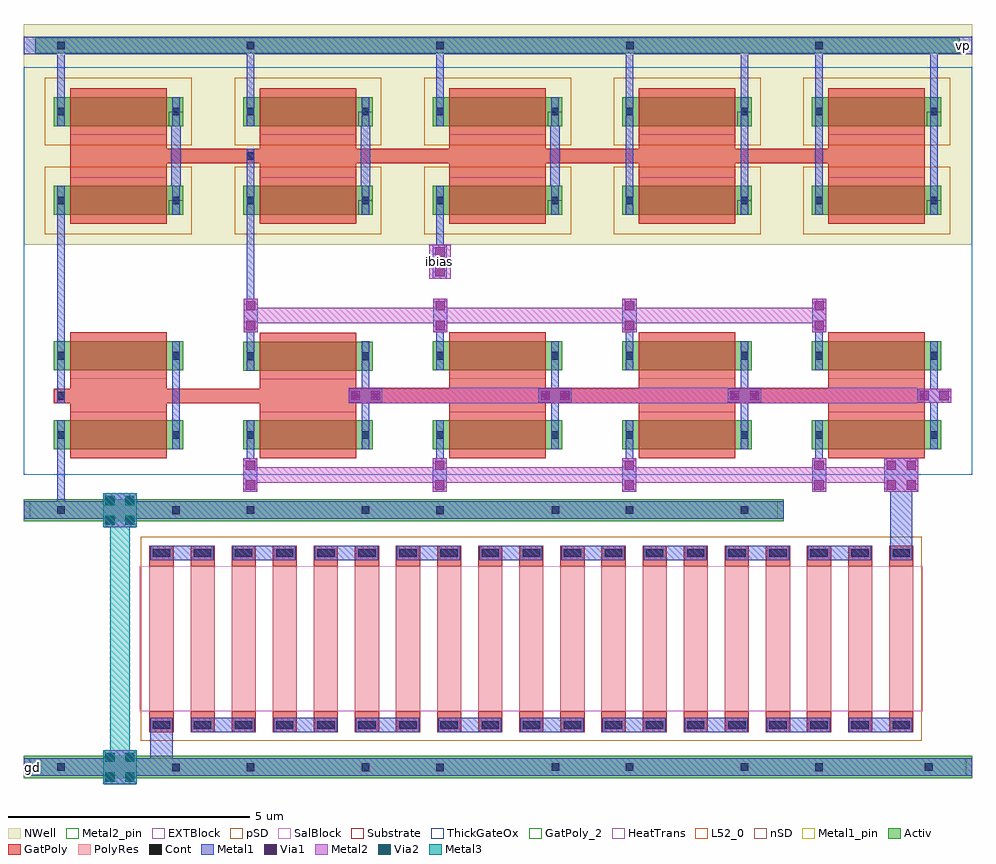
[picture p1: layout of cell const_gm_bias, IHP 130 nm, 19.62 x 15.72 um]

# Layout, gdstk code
import gdstk
lib = gdstk.Library(unit=1e-6, precision=1e-09)
def R(c, l, rs):  # rectangles x0, y0, x1, y1
    for r in rs: c.add(gdstk.rectangle(r[:2], r[2:], *l))
def A(c, l, x, y, w, h, nx, ny, dx, dy):  # array of equal rectangles
    R(c, l, [(x+i*dx, y+j*dy, x+i*dx+w, y+j*dy+h) for i in range(nx) for j in range(ny)])
Activ = (1, 0)
GatPoly = (5, 0)
GatPoly_2 = (5, 2)
Cont = (6, 0)
nSD = (7, 0)
Metal1 = (8, 0)
Metal1_pin = (8, 2)
Metal2 = (10, 0)
Metal2_pin = (10, 2)
pSD = (14, 0)
Via1 = (19, 0)
SalBlock = (28, 0)
Via2 = (29, 0)
Metal3 = (30, 0)
NWell = (31, 0)
Substrate = (40, 0)
ThickGateOx = (44, 0)
HeatTrans = (51, 0)
L52_0 = (52, 0)
EXTBlock = (111, 0)
PolyRes = (128, 0)

nmoshv_1_1 = lib.new_cell('nmosHV$1$1')
R(nmoshv_1_1, Activ, [(0,0,0.3,0.3), (0,0,2.68,0.6), (2.38,0,2.68,0.3)])
R(nmoshv_1_1, GatPoly, [(0.34,-0.18,2.34,0.78)])
R(nmoshv_1_1, GatPoly_2, [(0.34,-0.18,2.34,0.78)])
R(nmoshv_1_1, Cont, [(0.07,0.22,0.23,0.38), (2.45,0.22,2.61,0.38)])
R(nmoshv_1_1, Metal1, [(0.07,0,0.23,0.6), (2.45,0,2.61,0.6)])
R(nmoshv_1_1, Metal1_pin, [(0.07,0,0.23,0.6), (2.45,0,2.61,0.6)])
R(nmoshv_1_1, ThickGateOx, [(-0.27,-0.52,2.95,1.12)])
R(nmoshv_1_1, HeatTrans, [(0.34,-0.18,2.34,0.78)])
nmoshv_1_1.add(gdstk.Label('nmosHV', (1.34,0.3), layer=63, texttype=0))
nmoshv_1_1.add(gdstk.Label('nmosHV', (1.34,0.3), layer=51, texttype=0))

nmoshv_1 = lib.new_cell('nmosHV$1')
R(nmoshv_1, Activ, [(0,0,0.3,0.3), (0,0,2.68,0.6), (2.38,0,2.68,0.3)])
R(nmoshv_1, GatPoly, [(0.34,-0.18,2.34,0.78)])
R(nmoshv_1, GatPoly_2, [(0.34,-0.18,2.34,0.78)])
R(nmoshv_1, Cont, [(0.07,0.22,0.23,0.38), (2.45,0.22,2.61,0.38)])
R(nmoshv_1, Metal1, [(0.07,0,0.23,0.6), (2.45,0,2.61,0.6)])
R(nmoshv_1, Metal1_pin, [(0.07,0,0.23,0.6), (2.45,0,2.61,0.6)])
R(nmoshv_1, ThickGateOx, [(-0.27,-0.52,2.95,1.12)])
R(nmoshv_1, HeatTrans, [(0.34,-0.18,2.34,0.78)])
nmoshv_1.add(gdstk.Label('nmosHV', (1.34,0.3), layer=63, texttype=0))
nmoshv_1.add(gdstk.Label('nmosHV', (1.34,0.3), layer=51, texttype=0))

via_stack_4 = lib.new_cell('via_stack$4')
R(via_stack_4, Metal1, [(-0.145,-0.35,0.145,0.35)])
R(via_stack_4, Metal2, [(-0.145,-0.35,0.145,0.35)])
R(via_stack_4, Via1, [(-0.095,-0.3,0.095,-0.11), (-0.095,0.11,0.095,0.3)])

via_stack_1_1 = lib.new_cell('via_stack$1$1')
R(via_stack_1_1, Metal1, [(-0.35,-0.35,0.35,0.35)])
R(via_stack_1_1, Metal2, [(-0.35,-0.35,0.35,0.35)])
R(via_stack_1_1, Via1, [(-0.3,-0.3,-0.11,-0.11), (0.11,-0.3,0.3,-0.11), (-0.3,0.11,-0.11,0.3), (0.11,0.11,0.3,0.3)])

pmoshv_1 = lib.new_cell('pmosHV$1')
R(pmoshv_1, Activ, [(0,0,0.3,0.3), (0,0,2.68,0.6), (2.38,0,2.68,0.3)])
R(pmoshv_1, GatPoly, [(0.34,-0.18,2.34,0.78)])
R(pmoshv_1, GatPoly_2, [(0.34,-0.18,2.34,0.78)])
R(pmoshv_1, Cont, [(0.07,0.22,0.23,0.38), (2.45,0.22,2.61,0.38)])
R(pmoshv_1, Metal1, [(0.07,0,0.23,0.6), (2.45,0,2.61,0.6)])
R(pmoshv_1, Metal1_pin, [(0.07,0,0.23,0.6), (2.45,0,2.61,0.6)])
R(pmoshv_1, pSD, [(-0.18,-0.4,2.86,1)])
R(pmoshv_1, NWell, [(-0.62,-0.62,3.3,1.22)])
R(pmoshv_1, Substrate, [(2.38,0,2.68,0.3)])
R(pmoshv_1, ThickGateOx, [(-0.62,-0.62,3.3,1.22)])
R(pmoshv_1, HeatTrans, [(0.34,-0.18,2.34,0.78)])
pmoshv_1.add(gdstk.Label('pmosHV', (1.34,0.3), layer=63, texttype=0))
pmoshv_1.add(gdstk.Label('pmos', (1.34,0.3), layer=51, texttype=0))

via_stack_2_1 = lib.new_cell('via_stack$2$1')
R(via_stack_2_1, Metal1, [(-0.35,-0.35,0.35,0.35)])
R(via_stack_2_1, Metal2, [(-0.35,-0.35,0.35,0.35)])
R(via_stack_2_1, Via1, [(-0.3,-0.3,-0.11,-0.11), (0.11,-0.3,0.3,-0.11), (-0.3,0.11,-0.11,0.3), (0.11,0.11,0.3,0.3)])
R(via_stack_2_1, Via2, [(-0.3,-0.3,-0.11,-0.11), (0.11,-0.3,0.3,-0.11), (-0.3,0.11,-0.11,0.3), (0.11,0.11,0.3,0.3)])
R(via_stack_2_1, Metal3, [(-0.35,-0.35,0.35,0.35)])

via_stack_4_1 = lib.new_cell('via_stack$4$1')
R(via_stack_4_1, Metal1, [(-0.35,-0.145,0.35,0.145)])
R(via_stack_4_1, Metal2, [(-0.35,-0.145,0.35,0.145)])
R(via_stack_4_1, Via1, [(-0.3,-0.095,-0.11,0.095), (0.11,-0.095,0.3,0.095)])

rppd_2 = lib.new_cell('rppd$2')
A(rppd_2, GatPoly, 0, -0.43, 0.5, 0.23, 19, 2, 0.85, 3.63)
A(rppd_2, GatPoly, 0, -0.2, 0.5, 0.2, 19, 2, 0.85, 3.2)
A(rppd_2, Cont, 0.07, -0.36, 0.36, 0.16, 19, 2, 0.85, 3.56)
A(rppd_2, Metal1, 0.02, -0.43, 0.46, 0.3, 19, 2, 0.85, 3.56)
A(rppd_2, Metal1, 0.87, -0.43, 1.31, 0.3, 9, 1, 1.7, 0)
A(rppd_2, Metal1, 0.02, 3.13, 1.31, 0.3, 9, 1, 1.7, 0)
A(rppd_2, Metal1_pin, 0.02, -0.43, 0.46, 0.3, 19, 2, 0.85, 3.56)
A(rppd_2, pSD, -0.18, -0.61, 0.86, 0.61, 19, 2, 0.85, 3.61)
A(rppd_2, pSD, -0.18, 0, 0.86, 3, 19, 1, 0.85, 0)
A(rppd_2, SalBlock, -0.2, 0, 0.9, 3, 19, 1, 0.85, 0)
A(rppd_2, L52_0, 0, 0, 0.5, 3, 19, 1, 0.85, 0)
A(rppd_2, EXTBlock, -0.18, -0.61, 0.86, 0.61, 19, 2, 0.85, 3.61)
A(rppd_2, EXTBlock, -0.2, 0, 0.9, 3, 19, 1, 0.85, 0)
A(rppd_2, PolyRes, 0, 0, 0.5, 3, 19, 1, 0.85, 0)
rppd_2.add(gdstk.Label('rppd r=1681.502', (0.25,1.5), layer=63, texttype=0))
rppd_2.add(gdstk.Label('rppd r=1681.502', (0.25,1.5), layer=63, texttype=0))
rppd_2.add(gdstk.Label('rppd r=1681.502', (0.25,1.5), layer=63, texttype=0))
rppd_2.add(gdstk.Label('rppd r=1681.502', (0.25,1.5), layer=63, texttype=0))
rppd_2.add(gdstk.Label('rppd r=1681.502', (0.25,1.5), layer=63, texttype=0))
rppd_2.add(gdstk.Label('rppd r=1681.502', (0.25,1.5), layer=63, texttype=0))
rppd_2.add(gdstk.Label('rppd r=1681.502', (0.25,1.5), layer=63, texttype=0))
rppd_2.add(gdstk.Label('rppd r=1681.502', (0.25,1.5), layer=63, texttype=0))
rppd_2.add(gdstk.Label('rppd r=1681.502', (0.25,1.5), layer=63, texttype=0))
rppd_2.add(gdstk.Label('rppd r=1681.502', (0.25,1.5), layer=63, texttype=0))
rppd_2.add(gdstk.Label('rppd r=1681.502', (0.25,1.5), layer=63, texttype=0))
rppd_2.add(gdstk.Label('rppd r=1681.502', (0.25,1.5), layer=63, texttype=0))
rppd_2.add(gdstk.Label('rppd r=1681.502', (0.25,1.5), layer=63, texttype=0))
rppd_2.add(gdstk.Label('rppd r=1681.502', (0.25,1.5), layer=63, texttype=0))
rppd_2.add(gdstk.Label('rppd r=1681.502', (0.25,1.5), layer=63, texttype=0))
rppd_2.add(gdstk.Label('rppd r=1681.502', (0.25,1.5), layer=63, texttype=0))
rppd_2.add(gdstk.Label('rppd r=1681.502', (0.25,1.5), layer=63, texttype=0))
rppd_2.add(gdstk.Label('rppd r=1681.502', (0.25,1.5), layer=63, texttype=0))
rppd_2.add(gdstk.Label('rppd r=1681.502', (0.25,1.5), layer=63, texttype=0))
rppd_2.add(gdstk.Label('rppd', (0.25,1.5), layer=52, texttype=0))
rppd_2.add(gdstk.Label('rppd', (1.1,1.5), layer=52, texttype=0))
rppd_2.add(gdstk.Label('rppd', (1.95,1.5), layer=52, texttype=0))
rppd_2.add(gdstk.Label('rppd', (2.8,1.5), layer=52, texttype=0))
rppd_2.add(gdstk.Label('rppd', (3.65,1.5), layer=52, texttype=0))
rppd_2.add(gdstk.Label('rppd', (4.5,1.5), layer=52, texttype=0))
rppd_2.add(gdstk.Label('rppd', (5.35,1.5), layer=52, texttype=0))
rppd_2.add(gdstk.Label('rppd', (6.2,1.5), layer=52, texttype=0))
rppd_2.add(gdstk.Label('rppd', (7.05,1.5), layer=52, texttype=0))
rppd_2.add(gdstk.Label('rppd', (7.9,1.5), layer=52, texttype=0))
rppd_2.add(gdstk.Label('rppd', (8.75,1.5), layer=52, texttype=0))
rppd_2.add(gdstk.Label('rppd', (9.6,1.5), layer=52, texttype=0))
rppd_2.add(gdstk.Label('rppd', (10.45,1.5), layer=52, texttype=0))
rppd_2.add(gdstk.Label('rppd', (11.3,1.5), layer=52, texttype=0))
rppd_2.add(gdstk.Label('rppd', (12.15,1.5), layer=52, texttype=0))
rppd_2.add(gdstk.Label('rppd', (13,1.5), layer=52, texttype=0))
rppd_2.add(gdstk.Label('rppd', (13.85,1.5), layer=52, texttype=0))
rppd_2.add(gdstk.Label('rppd', (14.7,1.5), layer=52, texttype=0))
rppd_2.add(gdstk.Label('rppd', (15.55,1.5), layer=52, texttype=0))

const_gm_bias = lib.new_cell('const_gm_bias')
A(const_gm_bias, Cont, 0.69, 15.115, 0.16, 0.16, 3, 1, 3.92, 0)
R(const_gm_bias, Cont, [(3.07,0.18,3.23,0.34), (8.53,0.18,8.69,0.34), (4.61,0.185,4.77,0.345), (6.99,0.185,7.15,0.345), (16.37,0.185,16.53,0.345), (0.69,0.19,0.85,0.35), (10.92,0.19,11.08,0.35), (12.45,0.19,12.61,0.35), (14.83,0.19,14.99,0.35), (18.64,0.19,18.8,0.35), (3.07,5.5,3.23,5.66), (8.53,5.5,8.69,5.66), (4.61,5.505,4.77,5.665), (6.99,5.505,7.15,5.665), (0.69,5.51,0.85,5.67), (10.92,5.51,11.08,5.67), (12.45,5.51,12.61,5.67), (14.83,5.51,14.99,5.67), (0.69,7.87,0.85,8.03), (4.61,12.83,4.77,12.99), (12.46,15.115,12.62,15.275), (16.37,15.115,16.53,15.275)])
R(const_gm_bias, Metal1_pin, [(0,0.09,0.36,0.45), (19.26,15.015,19.62,15.375)])
R(const_gm_bias, Metal2, [(8.39,10.37,8.83,11.07)])
R(const_gm_bias, Metal2_pin, [(8.39,10.37,8.83,11.07)])
R(const_gm_bias, NWell, [(0,11.07,19.62,15.64)])
R(const_gm_bias, ThickGateOx, [(0,6.32,19.62,14.75)])
const_gm_bias.add(gdstk.FlexPath([(0,15.195),(19.62,15.195)], 0.36, ends="flush", simple_path=True, layer=8, datatype=0))  # Metal1
const_gm_bias.add(gdstk.FlexPath([(7.07,6.84),(7.07,9.08)], 0.16, ends="flush", simple_path=True, layer=8, datatype=0))  # Metal1
const_gm_bias.add(gdstk.FlexPath([(10.99,6.84),(10.99,9.08)], 0.16, ends="flush", simple_path=True, layer=8, datatype=0))  # Metal1
const_gm_bias.add(gdstk.FlexPath([(4.69,6.84),(4.69,6.31)], 0.16, ends="flush", simple_path=True, layer=8, datatype=0))  # Metal1
const_gm_bias.add(gdstk.FlexPath([(8.61,6.84),(8.61,6.31)], 0.16, ends="flush", simple_path=True, layer=8, datatype=0))  # Metal1
const_gm_bias.add(gdstk.FlexPath([(12.53,6.84),(12.53,6.31)], 0.16, ends="flush", simple_path=True, layer=8, datatype=0))  # Metal1
const_gm_bias.add(gdstk.FlexPath([(14.91,6.84),(14.91,9.08)], 0.16, ends="flush", simple_path=True, layer=8, datatype=0))  # Metal1
const_gm_bias.add(gdstk.FlexPath([(16.45,6.84),(16.45,6.31)], 0.16, ends="flush", simple_path=True, layer=8, datatype=0))  # Metal1
const_gm_bias.add(gdstk.FlexPath([(18.83,6.84),(18.83,9.08)], 0.16, ends="flush", simple_path=True, layer=8, datatype=0))  # Metal1
const_gm_bias.add(gdstk.FlexPath([(0,5.585),(15.72,5.585)], 0.36, ends="flush", simple_path=True, layer=8, datatype=0))  # Metal1
const_gm_bias.add(gdstk.FlexPath([(18.15,4.85),(18.15,6.31)], 0.46, ends="flush", simple_path=True, layer=8, datatype=0))  # Metal1
const_gm_bias.add(gdstk.FlexPath([(2.85,1.14),(2.85,0.27)], 0.46, ends="flush", simple_path=True, layer=8, datatype=0))  # Metal1
const_gm_bias.add(gdstk.FlexPath([(0,0.27),(19.62,0.27)], 0.36, ends="flush", simple_path=True, layer=8, datatype=0))  # Metal1
const_gm_bias.add(gdstk.FlexPath([(4.69,12.29),(4.69,13.06)], 0.16, ends="flush", simple_path=True, layer=8, datatype=0))  # Metal1
const_gm_bias.add(gdstk.FlexPath([(4.69,8.48),(4.69,12.29)], 0.16, ends="flush", simple_path=True, layer=8, datatype=0))  # Metal1
const_gm_bias.add(gdstk.FlexPath([(8.61,9.08),(8.61,9.96)], 0.16, ends="flush", simple_path=True, layer=8, datatype=0))  # Metal1
const_gm_bias.add(gdstk.FlexPath([(12.53,9.08),(12.53,9.96)], 0.16, ends="flush", simple_path=True, layer=8, datatype=0))  # Metal1
const_gm_bias.add(gdstk.FlexPath([(16.45,9.08),(16.45,9.96)], 0.16, ends="flush", simple_path=True, layer=8, datatype=0))  # Metal1
const_gm_bias.add(gdstk.FlexPath([(3.15,7.44),(3.15,8.48)], 0.16, ends="flush", simple_path=True, layer=8, datatype=0))  # Metal1
const_gm_bias.add(gdstk.FlexPath([(18.83,15.195),(18.83,12.29)], 0.16, ends="flush", simple_path=True, layer=8, datatype=0))  # Metal1
const_gm_bias.add(gdstk.FlexPath([(14.91,15.375),(14.91,12.29)], 0.16, ends="flush", simple_path=True, layer=8, datatype=0))  # Metal1
const_gm_bias.add(gdstk.FlexPath([(10.99,13.53),(10.99,12.29)], 0.2, ends="flush", simple_path=True, layer=8, datatype=0))  # Metal1
const_gm_bias.add(gdstk.FlexPath([(3.15,13.53),(3.15,12.29)], 0.2, ends="flush", simple_path=True, layer=8, datatype=0))  # Metal1
const_gm_bias.add(gdstk.FlexPath([(7.07,13.53),(7.07,12.29)], 0.2, ends="flush", simple_path=True, layer=8, datatype=0))  # Metal1
const_gm_bias.add(gdstk.FlexPath([(0.77,13.53),(0.77,15.13)], 0.16, ends="flush", simple_path=True, layer=8, datatype=0))  # Metal1
const_gm_bias.add(gdstk.FlexPath([(16.45,11.69),(16.45,15.13)], 0.16, ends="flush", simple_path=True, layer=8, datatype=0))  # Metal1
const_gm_bias.add(gdstk.FlexPath([(8.61,13.53),(8.61,15.13)], 0.16, ends="flush", simple_path=True, layer=8, datatype=0))  # Metal1
const_gm_bias.add(gdstk.FlexPath([(4.69,13.53),(4.69,15.13)], 0.16, ends="flush", simple_path=True, layer=8, datatype=0))  # Metal1
const_gm_bias.add(gdstk.FlexPath([(0.77,7.14),(0.77,5.585)], 0.16, ends="flush", simple_path=True, layer=8, datatype=0))  # Metal1
const_gm_bias.add(gdstk.FlexPath([(0.77,7.8),(0.77,12.29)], 0.16, ends="flush", simple_path=True, layer=8, datatype=0))  # Metal1
const_gm_bias.add(gdstk.FlexPath([(8.61,11.69),(8.61,10.5)], 0.16, ends="flush", simple_path=True, layer=8, datatype=0))  # Metal1
const_gm_bias.add(gdstk.FlexPath([(12.53,11.69),(12.53,15.13)], 0.16, ends="flush", simple_path=True, layer=8, datatype=0))  # Metal1
const_gm_bias.add(gdstk.FlexPath([(18.15,6.31),(4.545,6.31)], 0.32, ends="flush", simple_path=True, layer=10, datatype=0))  # Metal2
const_gm_bias.add(gdstk.FlexPath([(18.48,7.955),(6.72,7.955)], 0.32, ends="flush", simple_path=True, layer=10, datatype=0))  # Metal2
const_gm_bias.add(gdstk.FlexPath([(4.55,9.61),(16.6,9.61)], 0.32, ends="flush", simple_path=True, layer=10, datatype=0))  # Metal2
const_gm_bias.add(gdstk.FlexPath([(1.99,0.27),(1.99,5.585)], 0.4, ends="flush", simple_path=True, layer=30, datatype=0))  # Metal3
const_gm_bias.add(gdstk.FlexPath([(0,5.585),(15.72,5.585)], 0.46, ends="flush", simple_path=True, layer=1, datatype=0))  # Activ
const_gm_bias.add(gdstk.FlexPath([(0,0.27),(19.62,0.27)], 0.46, ends="flush", simple_path=True, layer=1, datatype=0))  # Activ
const_gm_bias.add(gdstk.FlexPath([(19.36,15.195),(0.24,15.195)], 0.33, ends="flush", simple_path=True, layer=1, datatype=0))  # Activ
const_gm_bias.add(gdstk.FlexPath([(1.96,8.78),(1.96,7.14)], 2, ends="flush", simple_path=True, layer=5, datatype=0))  # GatPoly
const_gm_bias.add(gdstk.FlexPath([(5.88,8.78),(5.88,7.14)], 2, ends="flush", simple_path=True, layer=5, datatype=0))  # GatPoly
const_gm_bias.add(gdstk.FlexPath([(9.8,8.78),(9.8,7.14)], 2, ends="flush", simple_path=True, layer=5, datatype=0))  # GatPoly
const_gm_bias.add(gdstk.FlexPath([(13.72,8.78),(13.72,7.14)], 2, ends="flush", simple_path=True, layer=5, datatype=0))  # GatPoly
const_gm_bias.add(gdstk.FlexPath([(17.64,8.78),(17.64,7.14)], 2, ends="flush", simple_path=True, layer=5, datatype=0))  # GatPoly
const_gm_bias.add(gdstk.FlexPath([(0.62,7.95),(16.64,7.95)], 0.3, ends="flush", simple_path=True, layer=5, datatype=0))  # GatPoly
const_gm_bias.add(gdstk.FlexPath([(17.64,13.35),(17.64,12.47)], 2, ends="flush", simple_path=True, layer=5, datatype=0))  # GatPoly
const_gm_bias.add(gdstk.FlexPath([(13.72,13.35),(13.72,12.47)], 2, ends="flush", simple_path=True, layer=5, datatype=0))  # GatPoly
const_gm_bias.add(gdstk.FlexPath([(9.8,13.35),(9.8,12.47)], 2, ends="flush", simple_path=True, layer=5, datatype=0))  # GatPoly
const_gm_bias.add(gdstk.FlexPath([(5.88,13.35),(5.88,12.47)], 2, ends="flush", simple_path=True, layer=5, datatype=0))  # GatPoly
const_gm_bias.add(gdstk.FlexPath([(1.96,13.35),(1.96,12.47)], 2, ends="flush", simple_path=True, layer=5, datatype=0))  # GatPoly
const_gm_bias.add(gdstk.FlexPath([(17.64,12.91),(1.96,12.91)], 0.3, ends="flush", simple_path=True, layer=5, datatype=0))  # GatPoly
const_gm_bias.add(gdstk.FlexPath([(15.6,5.585),(0.12,5.585)], 0.36, ends="flush", simple_path=True, layer=14, datatype=0))  # pSD
const_gm_bias.add(gdstk.FlexPath([(19.5,0.27),(0.12,0.27)], 0.36, ends="flush", simple_path=True, layer=14, datatype=0))  # pSD
const_gm_bias.add(gdstk.FlexPath([(0.24,15.195),(19.36,15.195)], 0.33, ends="flush", simple_path=True, layer=7, datatype=0))  # nSD
const_gm_bias.add(gdstk.Reference(nmoshv_1_1, (16.3,8.48)))
const_gm_bias.add(gdstk.Reference(nmoshv_1, (0.62,8.48)))
const_gm_bias.add(gdstk.Reference(nmoshv_1_1, (8.46,8.48)))
const_gm_bias.add(gdstk.Reference(nmoshv_1_1, (4.54,8.47)))
const_gm_bias.add(gdstk.Reference(nmoshv_1_1, (16.3,6.84)))
const_gm_bias.add(gdstk.Reference(nmoshv_1_1, (12.38,6.84)))
const_gm_bias.add(gdstk.Reference(nmoshv_1_1, (4.54,6.84)))
const_gm_bias.add(gdstk.Reference(via_stack_4, (4.69,6.31)))
const_gm_bias.add(gdstk.Reference(nmoshv_1_1, (8.46,6.84)))
const_gm_bias.add(gdstk.Reference(via_stack_4, (12.525,6.31)))
const_gm_bias.add(gdstk.Reference(via_stack_4, (12.53,9.61)))
const_gm_bias.add(gdstk.Reference(via_stack_4, (16.455,9.61)))
const_gm_bias.add(gdstk.Reference(via_stack_4, (8.615,9.61)))
const_gm_bias.add(gdstk.Reference(via_stack_1_1, (18.15,6.31)))
const_gm_bias.add(gdstk.Reference(via_stack_4, (4.695,9.61)))
const_gm_bias.add(gdstk.Reference(nmoshv_1, (0.62,6.84)))
const_gm_bias.add(gdstk.Reference(pmoshv_1, (16.3,11.69)))
const_gm_bias.add(gdstk.Reference(pmoshv_1, (0.62,13.53)))
const_gm_bias.add(gdstk.Reference(pmoshv_1, (16.3,13.53)))
const_gm_bias.add(gdstk.Reference(pmoshv_1, (12.38,11.69)))
const_gm_bias.add(gdstk.Reference(pmoshv_1, (12.38,13.53)))
const_gm_bias.add(gdstk.Reference(pmoshv_1, (8.46,11.69)))
const_gm_bias.add(gdstk.Reference(pmoshv_1, (4.54,13.53)))
const_gm_bias.add(gdstk.Reference(pmoshv_1, (8.46,13.53)))
const_gm_bias.add(gdstk.Reference(pmoshv_1, (4.54,11.69)))
const_gm_bias.add(gdstk.Reference(pmoshv_1, (0.62,11.69)))
const_gm_bias.add(gdstk.Reference(nmoshv_1_1, (12.38,8.48)))
const_gm_bias.add(gdstk.Reference(via_stack_2_1, (1.99,5.58)))
const_gm_bias.add(gdstk.Reference(via_stack_2_1, (1.99,0.27)))
const_gm_bias.add(gdstk.Reference(via_stack_4, (8.61,10.72)))
const_gm_bias.add(gdstk.Reference(via_stack_4, (8.605,6.31)))
const_gm_bias.add(gdstk.Reference(via_stack_4_1, (7.07,7.955)))
const_gm_bias.add(gdstk.Reference(via_stack_4_1, (10.99,7.955)))
const_gm_bias.add(gdstk.Reference(via_stack_4_1, (14.91,7.955)))
const_gm_bias.add(gdstk.Reference(via_stack_4_1, (18.83,7.955)))
const_gm_bias.add(gdstk.Reference(via_stack_4, (16.45,6.31)))
const_gm_bias.add(gdstk.Reference(rppd_2, (2.6,1.42)))
const_gm_bias.add(gdstk.Label('vp', (19.44,15.195), layer=8, texttype=25))
const_gm_bias.add(gdstk.Label('gd', (0.18,0.27), layer=8, texttype=25))
const_gm_bias.add(gdstk.Label('ibias', (8.61,10.72), layer=10, texttype=25))

lib.write_gds('const_gm_bias.gds')
